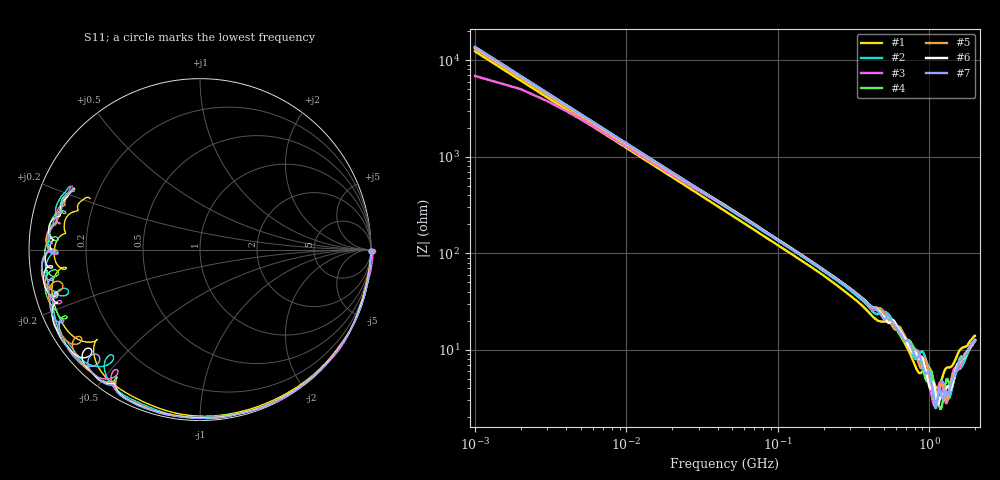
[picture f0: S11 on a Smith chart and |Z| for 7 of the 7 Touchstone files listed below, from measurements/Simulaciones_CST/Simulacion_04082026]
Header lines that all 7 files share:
! TOUCHSTONE file generated by CST MICROWAVE STUDIO
! Project name: Sonda-Coaxial_21mm_DisifixB_v2_Agua_Dest.cst
! Header version: 2018
! Port assignment regex: !\s*Touchstone port\s*([0-9]+)\s*=\s*(CST MWS port|CST DS port)\s*([0-9]+|Zmin|Zmax)\s*\(\"(.*)\"\)(\s*mode\s*([0-9]+))?.*
! Touchstone port assignment:
! Touchstone port 1 = CST MWS port 1 ("")
# GHz S RI R 50
Fixed: h_recipiente = 20, l_conector = 5, r_arandela = 35, r_ext = 10.5, r_int = 3, r_recipiente = 50
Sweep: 1 MHz to 2 GHz
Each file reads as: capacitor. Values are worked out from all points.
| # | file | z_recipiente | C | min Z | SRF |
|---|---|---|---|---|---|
| 1 | Sonda-Coaxial_21mm_DisifixB_v2_Agua_Dest_1.s1p | -5 | 12.9 pF | 3.98 ohm | 1.137 GHz |
| 2 | Sonda-Coaxial_21mm_DisifixB_v2_Agua_Dest_2.s1p | -10 | 11.6 pF | 3.09 ohm | 1.303 GHz |
| 3 | Sonda-Coaxial_21mm_DisifixB_v2_Agua_Dest_3.s1p | -20 | 12.4 pF | 2.61 ohm | 1.266 GHz |
| 4 | Sonda-Coaxial_21mm_DisifixB_v2_Agua_Dest_4.s1p | -30 | 11.8 pF | 2.42 ohm | 1.192 GHz |
| 5 | Sonda-Coaxial_21mm_DisifixB_v2_Agua_Dest_5.s1p | -40 | 11.9 pF | 2.55 ohm | 1.142 GHz |
| 6 | Sonda-Coaxial_21mm_DisifixB_v2_Agua_Dest_6.s1p | -50 | 11.6 pF | 2.71 ohm | 1.18 GHz |
| 7 | Sonda-Coaxial_21mm_DisifixB_v2_Agua_Dest_7.s1p | -60 | 11.6 pF | 2.47 ohm | 1.217 GHz |
